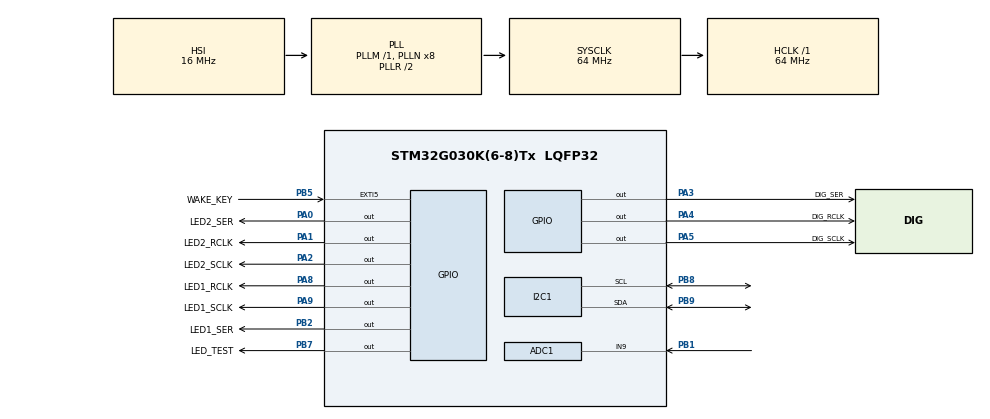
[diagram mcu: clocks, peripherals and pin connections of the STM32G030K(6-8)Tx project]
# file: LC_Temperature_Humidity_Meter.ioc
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ADC1.Channel-0\#ChannelRegularConversion=ADC_CHANNEL_9
ADC1.NbrOfConversionFlag=1
ADC1.Rank-0\#ChannelRegularConversion=1
ADC1.SamplingTime-0\#ChannelRegularConversion=ADC_SAMPLINGTIME_COMMON_1
ADC1.SamplingTimeCommon1=ADC_SAMPLETIME_160CYCLES_5
ADC1.SamplingTimeCommon2=ADC_SAMPLETIME_160CYCLES_5
ADC1.SelectedChannel=ADC_CHANNEL_9
ADC1.master=1
I2C1.Timing=0x10B17DB5
Mcu.Family=STM32G0
Mcu.Name=STM32G030K(6-8)Tx
Mcu.Package=LQFP32
NVIC.EXTI4_15_IRQn=true\:1\:0\:true\:false\:true\:true\:true\:true
NVIC.TIM14_IRQn=true\:2\:0\:true\:false\:true\:true\:true\:true
PA0.GPIO_Label=LED2_SER
PA0.GPIO_Speed=GPIO_SPEED_FREQ_VERY_HIGH
PA0.Signal=GPIO_Output
PA1.GPIO_Label=LED2_RCLK
PA1.GPIO_Speed=GPIO_SPEED_FREQ_VERY_HIGH
PA1.Signal=GPIO_Output
PA13.Mode=Serial_Wire
PA13.Signal=SYS_SWDIO
PA14-BOOT0.Mode=Serial_Wire
PA14-BOOT0.Signal=SYS_SWCLK
PA2.GPIO_Label=LED2_SCLK
PA2.GPIO_Speed=GPIO_SPEED_FREQ_VERY_HIGH
PA2.Signal=GPIO_Output
PA3.GPIO_Label=DIG_SER
PA3.GPIO_Speed=GPIO_SPEED_FREQ_VERY_HIGH
PA3.Signal=GPIO_Output
PA4.GPIO_Label=DIG_RCLK
PA4.GPIO_Speed=GPIO_SPEED_FREQ_VERY_HIGH
PA4.Signal=GPIO_Output
PA5.GPIO_Label=DIG_SCLK
PA5.GPIO_Speed=GPIO_SPEED_FREQ_VERY_HIGH
PA5.Signal=GPIO_Output
PA8.GPIO_Label=LED1_RCLK
PA8.GPIO_Speed=GPIO_SPEED_FREQ_VERY_HIGH
PA8.Signal=GPIO_Output
PA9.GPIO_Label=LED1_SCLK
PA9.GPIO_Speed=GPIO_SPEED_FREQ_VERY_HIGH
PA9.Signal=GPIO_Output
PB1.Mode=IN9
PB1.Signal=ADC1_IN9
PB2.GPIO_Label=LED1_SER
PB2.GPIO_Speed=GPIO_SPEED_FREQ_VERY_HIGH
PB2.Signal=GPIO_Output
PB5.GPIO_Label=WAKE_KEY
PB5.GPIO_ModeDefaultEXTI=GPIO_MODE_IT_FALLING
PB5.GPIO_PuPd=GPIO_PULLUP
PB5.Signal=GPXTI5
PB7.GPIO_Label=LED_TEST
PB7.GPIO_Speed=GPIO_SPEED_FREQ_VERY_HIGH
PB7.PinState=GPIO_PIN_SET
PB7.Signal=GPIO_Output
PB8.Mode=I2C
PB8.Signal=I2C1_SCL
PB9.Mode=I2C
PB9.Signal=I2C1_SDA
PC14-OSC32_IN\ (PC14).Mode=LSE-External-Oscillator
PC14-OSC32_IN\ (PC14).Signal=RCC_OSC32_IN
PC15-OSC32_OUT\ (PC15).Mode=LSE-External-Oscillator
PC15-OSC32_OUT\ (PC15).Signal=RCC_OSC32_OUT
ProjectManager.HeapSize=0x200
ProjectManager.StackSize=0x400
ProjectManager.TargetToolchain=MDK-ARM V5.32
RCC.ADCFreq_Value=64000000
RCC.AHBFreq_Value=64000000
RCC.CortexFreq_Value=64000000
RCC.EXTERNAL_CLOCK_VALUE=12288000
RCC.HCLKFreq_Value=64000000
RCC.HSE_VALUE=8000000
RCC.HSI_VALUE=16000000
RCC.RTCClockSelection=RCC_RTCCLKSOURCE_LSE
RCC.SYSCLKFreq_VALUE=64000000
RCC.SYSCLKSource=RCC_SYSCLKSOURCE_PLLCLK
RCC.VCOOutputFreq_Value=128000000
RTC.Date=4
RTC.Hours=23
RTC.Minutes=35
RTC.Month=RTC_MONTH_AUGUST
RTC.WeekDay=RTC_WEEKDAY_SUNDAY
RTC.Year=24
TIM14.AutoReloadPreload=TIM_AUTORELOAD_PRELOAD_DISABLE
TIM14.Period=40-1
TIM14.Prescaler=64-1
VP_RTC_VS_RTC_Activate.Mode=RTC_Enabled
VP_RTC_VS_RTC_Calendar.Mode=RTC_Calendar
VP_TIM14_VS_ClockSourceINT.Mode=Enable_Timer
board=custom

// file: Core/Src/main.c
/* USER CODE BEGIN Header */
/**
 ******************************************************************************
 * @file           : main.c
 * @brief          : Main program body
 ******************************************************************************
 * @attention
 *
 * Copyright (c) 2024 STMicroelectronics.
 * All rights reserved.
 *
 * This software is licensed under terms that can be found in the LICENSE file
 * in the root directory of this software component.
 * If no LICENSE file comes with this software, it is provided AS-IS.
 *
 ******************************************************************************
 */
/* USER CODE END Header */
#include "main.h"
#include "adc.h"
#include "i2c.h"
#include "rtc.h"
#include "tim.h"
#include "gpio.h"

void SystemClock_Config(void);

/* USER CODE BEGIN 0 */
struct DEVICE_PARAMTER device_paramter = {0}; // 定义并初始化设备参数结构体
/* USER CODE END 0 */

int main(void)
{

  /* USER CODE BEGIN 1 */
  /* 定义温湿度数据 */
  float temperature = 0;
  float humidity = 0;
  /* USER CODE END 1 */

  /* MCU Configuration--------------------------------------------------------*/

  /* Reset of all peripherals, Initializes the Flash interface and the Systick. */
  HAL_Init();

  /* Configure the system clock */
  SystemClock_Config();

  /* USER CODE BEGIN SysInit */
  HAL_DeInit(); // 关闭所有外设
  /* USER CODE END SysInit */

  /* Initialize all configured peripherals */
  MX_GPIO_Init();
  MX_ADC1_Init();
  MX_I2C1_Init();
  MX_TIM14_Init();
  MX_RTC_Init();
  /* USER CODE BEGIN 2 */
  HAL_Delay(100); // 等待数码管电源稳定

  /* 关闭数码管显示 */
  SN74HC595_Send_Data(SN_DIG, 0xFF);
  SN74HC595_Send_Data(SN_LED1, 0x00);
  SN74HC595_Send_Data(SN_LED2, 0x00);

  HAL_SuspendTick();                                                // 暂停滴答定时器，防止通过滴答定时器中断唤醒
  HAL_PWR_EnterSLEEPMode(PWR_MAINREGULATOR_ON, PWR_SLEEPENTRY_WFI); // 执行WFI指令, 进入睡眠模式
  /* USER CODE END 2 */

  /* Infinite loop */
  while (1)
  {

    /* USER CODE BEGIN 3 */
    if (device_paramter.KeyStatus == KEY_SHAKE_STATE)
    {
      HAL_Delay(10);
      if (HAL_GPIO_ReadPin(GPIOB, GPIO_PIN_5) == GPIO_PIN_RESET)
      {
        while (HAL_GPIO_ReadPin(GPIOB, GPIO_PIN_5) == GPIO_PIN_RESET)
          ;

        SHT40_Read_RHData(&temperature, &humidity); // 读取温湿度
        device_paramter.Temp = temperature * 10;    // 放大温湿度为整型，便于传递
        device_paramter.Humi = humidity * 10;
        HAL_TIM_Base_Start_IT(&htim14);           // 开始定时器，显示两次数据
        device_paramter.sleepStatus = 0;          // 清除休眠标志
        device_paramter.KeyStatus = KEY_NO_PRESS; // 清除按下标志
      }
    }
    else if (device_paramter.sleepStatus == 1) // 显示结束，进入休眠
    {
      HAL_SuspendTick();                                                // 暂停滴答定时器，防止通过滴答定时器中断唤醒
      HAL_PWR_EnterSLEEPMode(PWR_MAINREGULATOR_ON, PWR_SLEEPENTRY_WFI); /* 执行WFI指令, 进入睡眠模式 */
    }
  }
  /* USER CODE END 3 */
}

void SystemClock_Config(void)
{
  RCC_OscInitTypeDef RCC_OscInitStruct = {0};
  RCC_ClkInitTypeDef RCC_ClkInitStruct = {0};

  /** Configure the main internal regulator output voltage
  */
  HAL_PWREx_ControlVoltageScaling(PWR_REGULATOR_VOLTAGE_SCALE1);

  /** Configure LSE Drive Capability
  */
  HAL_PWR_EnableBkUpAccess();
  __HAL_RCC_LSEDRIVE_CONFIG(RCC_LSEDRIVE_LOW);

  /** Initializes the RCC Oscillators according to the specified parameters
  * in the RCC_OscInitTypeDef structure.
  */
  RCC_OscInitStruct.OscillatorType = RCC_OSCILLATORTYPE_HSI|RCC_OSCILLATORTYPE_LSE;
  RCC_OscInitStruct.LSEState = RCC_LSE_ON;
  RCC_OscInitStruct.HSIState = RCC_HSI_ON;
  RCC_OscInitStruct.HSIDiv = RCC_HSI_DIV1;
  RCC_OscInitStruct.HSICalibrationValue = RCC_HSICALIBRATION_DEFAULT;
  RCC_OscInitStruct.PLL.PLLState = RCC_PLL_ON;
  RCC_OscInitStruct.PLL.PLLSource = RCC_PLLSOURCE_HSI;
  RCC_OscInitStruct.PLL.PLLM = RCC_PLLM_DIV1;
  RCC_OscInitStruct.PLL.PLLN = 8;
  RCC_OscInitStruct.PLL.PLLP = RCC_PLLP_DIV2;
  RCC_OscInitStruct.PLL.PLLR = RCC_PLLR_DIV2;
  if (HAL_RCC_OscConfig(&RCC_OscInitStruct) != HAL_OK)
  {
    Error_Handler();
  }

  /** Initializes the CPU, AHB and APB buses clocks
  */
  RCC_ClkInitStruct.ClockType = RCC_CLOCKTYPE_HCLK|RCC_CLOCKTYPE_SYSCLK
                              |RCC_CLOCKTYPE_PCLK1;
  RCC_ClkInitStruct.SYSCLKSource = RCC_SYSCLKSOURCE_PLLCLK;
  RCC_ClkInitStruct.AHBCLKDivider = RCC_SYSCLK_DIV1;
  RCC_ClkInitStruct.APB1CLKDivider = RCC_HCLK_DIV1;

  if (HAL_RCC_ClockConfig(&RCC_ClkInitStruct, FLASH_LATENCY_2) != HAL_OK)
  {
    Error_Handler();
  }
}

void Error_Handler(void)
{
  __disable_irq();
  while (1)
  {
  }
}
